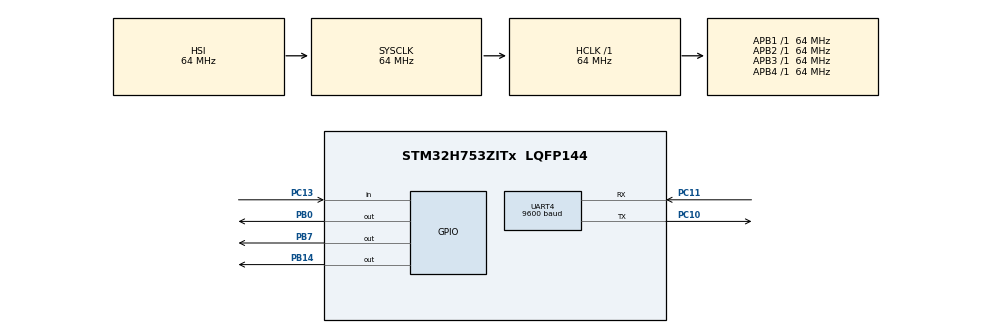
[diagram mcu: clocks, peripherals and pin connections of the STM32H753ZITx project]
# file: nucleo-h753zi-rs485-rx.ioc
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CORTEX_M7.CPU_DCache=Disabled
CORTEX_M7.CPU_ICache=Disabled
CORTEX_M7.MPU_Control=__NULL
CORTEX_M7.default_mode_Activation=1
Mcu.Family=STM32H7
Mcu.Name=STM32H753ZITx
Mcu.Package=LQFP144
NUCLEO-H753ZI.BUTTON=1
NUCLEO-H753ZI.LD1=true
NUCLEO-H753ZI.LD2=true
NUCLEO-H753ZI.LD3=true
NUCLEO-H753ZI.VCP=true
NVIC.EXTI15_10_IRQn=true\:0\:0\:false\:false\:true\:false\:true\:true
NVIC.PriorityGroup=NVIC_PRIORITYGROUP_4
NVIC.UART4_IRQn=true\:0\:0\:false\:false\:true\:true\:true\:true
PB0.Signal=GPIO_Output
PB14.Signal=GPIO_Output
PB7.Signal=GPIO_Output
PC10.Mode=Asynchronous
PC10.Signal=UART4_TX
PC11.Mode=Asynchronous
PC11.Signal=UART4_RX
PC13.Signal=GPIO_Input
PC14-OSC32_IN\ (OSC32_IN).Signal=RCC_OSC32_IN
PC15-OSC32_OUT\ (OSC32_OUT).Signal=RCC_OSC32_OUT
PD8.Signal=USART3_TX
PD9.Signal=USART3_RX
PH0-OSC_IN\ (PH0).Signal=RCC_OSC_IN
PH1-OSC_OUT\ (PH1).Signal=RCC_OSC_OUT
ProjectManager.HeapSize=0x200
ProjectManager.StackSize=0x400
ProjectManager.TargetToolchain=STM32CubeIDE
RCC.ADCFreq_Value=129000000
RCC.APB1Freq_Value=64000000
RCC.APB2Freq_Value=64000000
RCC.APB3Freq_Value=64000000
RCC.APB4Freq_Value=64000000
RCC.CortexFreq_Value=64000000
RCC.DIVM1=1
RCC.DIVN1=24
RCC.DIVQ1=4
RCC.HCLKFreq_Value=64000000
RCC.HSE_VALUE=8000000
RCC.PLLFRACN=0
RCC.PWR_Regulator_Voltage_Scale=PWR_REGULATOR_VOLTAGE_SCALE2
RCC.SYSCLKFreq_VALUE=64000000
RCC.USBFreq_Value=384000000
UART4.BaudRate=9600
VP_MEMORYMAP_VS_MEMORYMAP.Mode=CurAppReg
VP_NUCLEO-H753ZI_VS_BSP_COMMON.Mode=COMMON
board=NUCLEO-H753ZI

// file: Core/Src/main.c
/* USER CODE BEGIN Header */
/**
  ******************************************************************************
  * @file           : main.c
  * @brief          : Main program body
  ******************************************************************************
  * @attention
  *
  * Copyright (c) 2025 STMicroelectronics.
  * All rights reserved.
  *
  * This software is licensed under terms that can be found in the LICENSE file
  * in the root directory of this software component.
  * If no LICENSE file comes with this software, it is provided AS-IS.
  *
  ******************************************************************************
  */
/* USER CODE END Header */
#include "main.h"
#include <stdio.h>

COM_InitTypeDef BspCOMInit;

UART_HandleTypeDef huart4;

/* USER CODE BEGIN PV */
volatile uint8_t rxBuf = 1;
/* USER CODE END PV */

void SystemClock_Config(void);
static void MX_GPIO_Init(void);
static void MX_UART4_Init(void);

int main(void)
{

  /* MCU Configuration--------------------------------------------------------*/

  /* Reset of all peripherals, Initializes the Flash interface and the Systick. */
  HAL_Init();

  /* Configure the system clock */
  SystemClock_Config();

  /* Initialize all configured peripherals */
  MX_GPIO_Init();
  MX_UART4_Init();
  /* USER CODE BEGIN 2 */
  HAL_UART_Receive_IT(&huart4, &rxBuf, 1);
  /* USER CODE END 2 */

  /* Initialize leds */
  BSP_LED_Init(LED_GREEN);
  BSP_LED_Init(LED_BLUE);
  BSP_LED_Init(LED_RED);

  /* Initialize USER push-button, will be used to trigger an interrupt each time it's pressed.*/
  BSP_PB_Init(BUTTON_USER, BUTTON_MODE_EXTI);

  /* Initialize COM1 port (115200, 8 bits (7-bit data + 1 stop bit), no parity */
  BspCOMInit.BaudRate   = 115200;
  BspCOMInit.WordLength = COM_WORDLENGTH_8B;
  BspCOMInit.StopBits   = COM_STOPBITS_1;
  BspCOMInit.Parity     = COM_PARITY_NONE;
  BspCOMInit.HwFlowCtl  = COM_HWCONTROL_NONE;
  if (BSP_COM_Init(COM1, &BspCOMInit) != BSP_ERROR_NONE)
  {
    Error_Handler();
  }

  /* Infinite loop */
  while (1)
  {

  }
}

void SystemClock_Config(void)
{
  RCC_OscInitTypeDef RCC_OscInitStruct = {0};
  RCC_ClkInitTypeDef RCC_ClkInitStruct = {0};

  /** Supply configuration update enable
  */
  HAL_PWREx_ConfigSupply(PWR_LDO_SUPPLY);

  /** Configure the main internal regulator output voltage
  */
  __HAL_PWR_VOLTAGESCALING_CONFIG(PWR_REGULATOR_VOLTAGE_SCALE2);

  while(!__HAL_PWR_GET_FLAG(PWR_FLAG_VOSRDY)) {}

  /** Initializes the RCC Oscillators according to the specified parameters
  * in the RCC_OscInitTypeDef structure.
  */
  RCC_OscInitStruct.OscillatorType = RCC_OSCILLATORTYPE_HSI;
  RCC_OscInitStruct.HSIState = RCC_HSI_DIV1;
  RCC_OscInitStruct.HSICalibrationValue = RCC_HSICALIBRATION_DEFAULT;
  RCC_OscInitStruct.PLL.PLLState = RCC_PLL_NONE;
  if (HAL_RCC_OscConfig(&RCC_OscInitStruct) != HAL_OK)
  {
    Error_Handler();
  }

  /** Initializes the CPU, AHB and APB buses clocks
  */
  RCC_ClkInitStruct.ClockType = RCC_CLOCKTYPE_HCLK|RCC_CLOCKTYPE_SYSCLK
                              |RCC_CLOCKTYPE_PCLK1|RCC_CLOCKTYPE_PCLK2
                              |RCC_CLOCKTYPE_D3PCLK1|RCC_CLOCKTYPE_D1PCLK1;
  RCC_ClkInitStruct.SYSCLKSource = RCC_SYSCLKSOURCE_HSI;
  RCC_ClkInitStruct.SYSCLKDivider = RCC_SYSCLK_DIV1;
  RCC_ClkInitStruct.AHBCLKDivider = RCC_HCLK_DIV1;
  RCC_ClkInitStruct.APB3CLKDivider = RCC_APB3_DIV1;
  RCC_ClkInitStruct.APB1CLKDivider = RCC_APB1_DIV1;
  RCC_ClkInitStruct.APB2CLKDivider = RCC_APB2_DIV1;
  RCC_ClkInitStruct.APB4CLKDivider = RCC_APB4_DIV1;

  if (HAL_RCC_ClockConfig(&RCC_ClkInitStruct, FLASH_LATENCY_1) != HAL_OK)
  {
    Error_Handler();
  }
}

static void MX_UART4_Init(void)
{

  huart4.Instance = UART4;
  huart4.Init.BaudRate = 9600;
  huart4.Init.WordLength = UART_WORDLENGTH_8B;
  huart4.Init.StopBits = UART_STOPBITS_1;
  huart4.Init.Parity = UART_PARITY_NONE;
  huart4.Init.Mode = UART_MODE_TX_RX;
  huart4.Init.HwFlowCtl = UART_HWCONTROL_NONE;
  huart4.Init.OverSampling = UART_OVERSAMPLING_16;
  huart4.Init.OneBitSampling = UART_ONE_BIT_SAMPLE_DISABLE;
  huart4.Init.ClockPrescaler = UART_PRESCALER_DIV1;
  huart4.AdvancedInit.AdvFeatureInit = UART_ADVFEATURE_NO_INIT;
  if (HAL_UART_Init(&huart4) != HAL_OK)
  {
    Error_Handler();
  }
  if (HAL_UARTEx_SetTxFifoThreshold(&huart4, UART_TXFIFO_THRESHOLD_1_8) != HAL_OK)
  {
    Error_Handler();
  }
  if (HAL_UARTEx_SetRxFifoThreshold(&huart4, UART_RXFIFO_THRESHOLD_1_8) != HAL_OK)
  {
    Error_Handler();
  }
  if (HAL_UARTEx_DisableFifoMode(&huart4) != HAL_OK)
  {
    Error_Handler();
  }

}

static void MX_GPIO_Init(void)
{

  /* GPIO Ports Clock Enable */
  __HAL_RCC_GPIOC_CLK_ENABLE();
  __HAL_RCC_GPIOH_CLK_ENABLE();

}

/* USER CODE BEGIN 4 */
int _write(int fd, char* ptr, int len)
{
	HAL_UART_Transmit(&huart4, (uint8_t*) ptr, len, HAL_MAX_DELAY);
	return len;
}

void HAL_UART_RxCpltCallback(UART_HandleTypeDef *huart) {
	if (rxBuf == 0) {
		BSP_LED_On(LED_GREEN);
		BSP_LED_Off(LED_RED);
	}
	else if (rxBuf == 1) {
		BSP_LED_On(LED_RED);
		BSP_LED_Off(LED_GREEN);
	}
	else {
		BSP_LED_Off(LED_RED);
		BSP_LED_Off(LED_GREEN);
	}

	HAL_UART_Receive_IT(&huart4, &rxBuf, 1);

	// printf((char)rxBuf[0]);
}
/* USER CODE END 4 */

void Error_Handler(void)
{
  __disable_irq();
  while (1)
  {
  }
}
